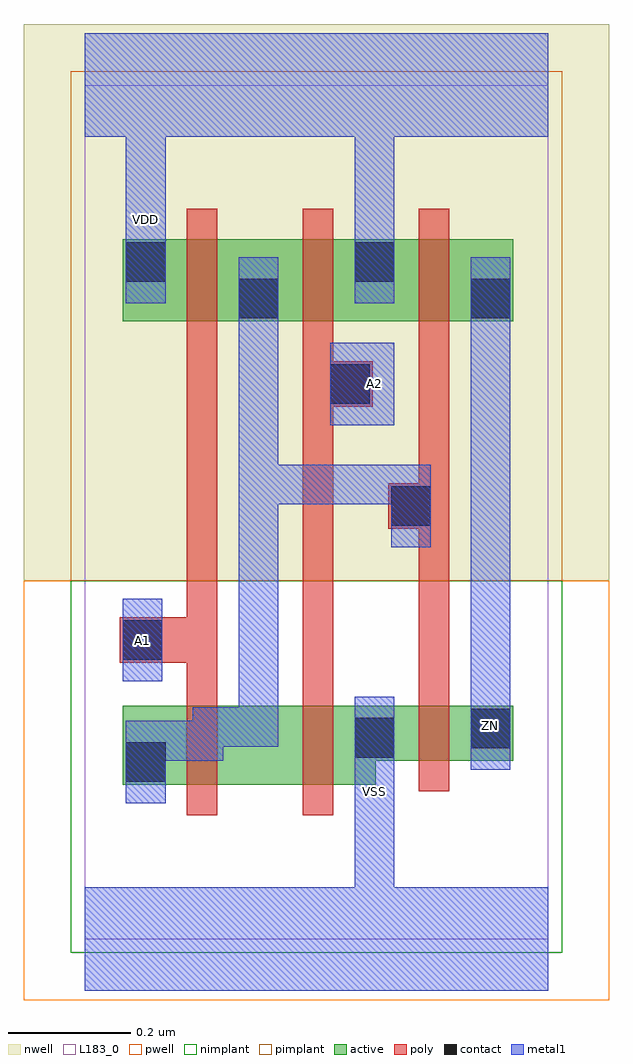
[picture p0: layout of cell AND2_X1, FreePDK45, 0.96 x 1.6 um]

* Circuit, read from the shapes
.subckt AND2_X1 A1 A2 VDD VSS ZN
M1 n1 A1 n2 VSUBS nfet w=0.13u l=0.05u
M2 VSS A2 n1 VSUBS nfet w=0.13u l=0.05u
M3 ZN n2 VSS VSUBS nfet w=0.09u l=0.05u
M4 n2 A1 VDD n3 pfet w=0.135u l=0.05u
M5 VDD A2 n2 n3 pfet w=0.135u l=0.05u
M6 ZN n2 VDD n3 pfet w=0.135u l=0.05u
.ends

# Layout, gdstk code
import gdstk
lib = gdstk.Library(unit=1e-6, precision=1e-10)
def R(c, l, rs):  # rectangles x0, y0, x1, y1
    for r in rs: c.add(gdstk.rectangle(r[:2], r[2:], *l))
def P(c, l, *ps):  # polygons
    for p in ps: c.add(gdstk.Polygon(p, *l))
active = (1, 0)
pwell = (2, 0)
nwell = (3, 0)
nimplant = (4, 0)
pimplant = (5, 0)
poly = (9, 0)
contact = (10, 0)
metal1 = (11, 0)
L183_0 = (183, 0)

and2_x1 = lib.new_cell('AND2_X1')
P(and2_x1, active, [(0.0625,0.2525),(0.1675,0.2525),(0.2175,0.2525),(0.3575,0.2525),(0.4075,0.2525),(0.4775,0.2525),(0.4775,0.2925),(0.5475,0.2925),(0.5975,0.2925),(0.7025,0.2925),(0.7025,0.3825),(0.5975,0.3825),(0.5475,0.3825),(0.4075,0.3825),(0.3575,0.3825),(0.2175,0.3825),(0.1675,0.3825),(0.0625,0.3825)],
  [(0.0625,1.0125),(0.1675,1.0125),(0.2175,1.0125),(0.3575,1.0125),(0.4075,1.0125),(0.5475,1.0125),(0.5975,1.0125),(0.7025,1.0125),(0.7025,1.1475),(0.5975,1.1475),(0.5475,1.1475),(0.4075,1.1475),(0.3575,1.1475),(0.2175,1.1475),(0.1675,1.1475),(0.0625,1.1475)])
P(and2_x1, pwell, [(-0.1,-0.1),(0.86,-0.1),(0.86,0.5875),(0.66,0.5875),(0.1,0.5875),(-0.1,0.5875)])
P(and2_x1, nwell, [(-0.1,0.5875),(0.1,0.5875),(0.66,0.5875),(0.86,0.5875),(0.86,1.5),(-0.1,1.5)])
R(and2_x1, nimplant, [(-0.0225,-0.0225,0.7825,0.5875)])
R(and2_x1, pimplant, [(-0.0225,0.5875,0.7825,1.4225)])
P(and2_x1, poly, [(0.0575,0.4525),(0.1675,0.4525),(0.1675,0.3825),(0.1675,0.2525),(0.1675,0.2025),(0.2175,0.2025),(0.2175,0.2525),(0.2175,0.3825),(0.2175,1.0125),(0.2175,1.1475),(0.2175,1.1975),(0.1675,1.1975),(0.1675,1.1475),(0.1675,1.0125),(0.1675,0.5275),(0.0575,0.5275)],
  [(0.3575,0.2025),(0.4075,0.2025),(0.4075,0.2525),(0.4075,0.3825),(0.4075,0.8725),(0.4725,0.8725),(0.4725,0.9475),(0.4075,0.9475),(0.4075,1.0125),(0.4075,1.1475),(0.4075,1.1975),(0.3575,1.1975),(0.3575,1.1475),(0.3575,1.0125),(0.3575,0.3825),(0.3575,0.2525)],
  [(0.4975,0.6725),(0.5475,0.6725),(0.5475,0.3825),(0.5475,0.2925),(0.5475,0.2425),(0.5975,0.2425),(0.5975,0.2925),(0.5975,0.3825),(0.5975,1.0125),(0.5975,1.1475),(0.5975,1.1975),(0.5475,1.1975),(0.5475,1.1475),(0.5475,1.0125),(0.5475,0.7475),(0.4975,0.7475)])
R(and2_x1, contact, [(0.0675,0.2575,0.1325,0.3225), (0.4425,0.2975,0.5075,0.3625), (0.6325,0.3125,0.6975,0.3775), (0.0625,0.4575,0.1275,0.5225), (0.5025,0.6775,0.5675,0.7425), (0.4025,0.8775,0.4675,0.9425), (0.2525,1.0175,0.3175,1.0825), (0.6325,1.0175,0.6975,1.0825), (0.0675,1.0775,0.1325,1.1425), (0.4425,1.0775,0.5075,1.1425)])
R(and2_x1, metal1, [(0.6325,0.2775,0.6975,1.1175), (0.0625,0.4225,0.1275,0.5575), (0.4025,0.8425,0.5075,0.9775)])
P(and2_x1, metal1, [(0,-0.085),(0.76,-0.085),(0.76,0.085),(0.5075,0.085),(0.5075,0.3975),(0.4425,0.3975),(0.4425,0.085),(0,0.085)],
  [(0,1.315),(0.0675,1.315),(0.0675,1.0425),(0.1325,1.0425),(0.1325,1.315),(0.4425,1.315),(0.4425,1.0425),(0.5075,1.0425),(0.5075,1.315),(0.76,1.315),(0.76,1.485),(0,1.485)],
  [(0.0675,0.2225),(0.1325,0.2225),(0.1325,0.2925),(0.2275,0.2925),(0.2275,0.315),(0.3175,0.315),(0.3175,0.7125),(0.5025,0.7125),(0.5025,0.6425),(0.5675,0.6425),(0.5675,0.7775),(0.3175,0.7775),(0.3175,1.1175),(0.2525,1.1175),(0.2525,0.38),(0.1775,0.38),(0.1775,0.3575),(0.0675,0.3575)])
R(and2_x1, L183_0, [(0,0,0.76,1.4)])
and2_x1.add(gdstk.Label('A1', (0.095,0.49), layer=11, texttype=0))
and2_x1.add(gdstk.Label('A2', (0.475,0.91), layer=11, texttype=0))
and2_x1.add(gdstk.Label('VDD', (0.1,1.1787), layer=11, texttype=0))
and2_x1.add(gdstk.Label('VSS', (0.475,0.2412), layer=11, texttype=0))
and2_x1.add(gdstk.Label('ZN', (0.665,0.35), layer=11, texttype=0))

lib.write_gds('AND2_X1.gds')
